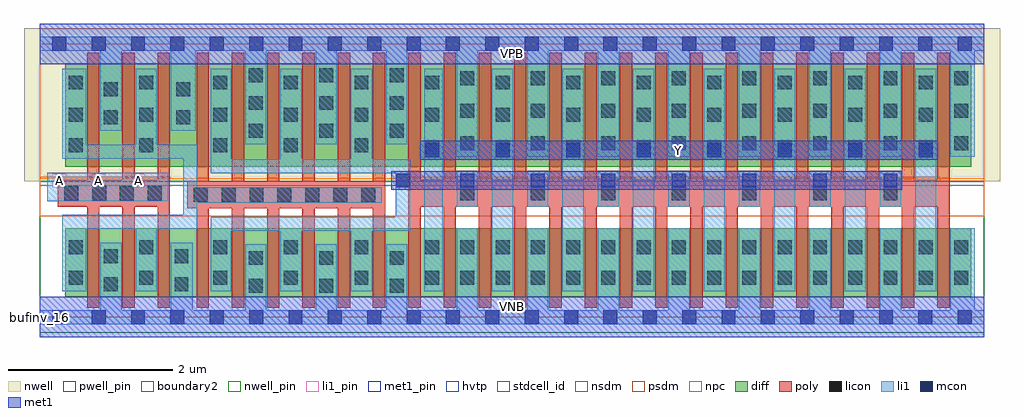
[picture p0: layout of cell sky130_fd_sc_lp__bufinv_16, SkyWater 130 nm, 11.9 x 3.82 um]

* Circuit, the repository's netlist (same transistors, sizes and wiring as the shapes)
* Copyright 2020 The SkyWater PDK Authors
*
* Licensed under the Apache License, Version 2.0 (the "License");
* you may not use this file except in compliance with the License.
* You may obtain a copy of the License at
*
*     https://www.apache.org/licenses/LICENSE-2.0
*
* Unless required by applicable law or agreed to in writing, software
* distributed under the License is distributed on an "AS IS" BASIS,
* WITHOUT WARRANTIES OR CONDITIONS OF ANY KIND, either express or implied.
* See the License for the specific language governing permissions and
* limitations under the License.
*
* SPDX-License-Identifier: Apache-2.0

.SUBCKT sky130_fd_sc_lp__bufinv_16 A VGND VNB VPB VPWR Y
*.PININFO A:I VGND:I VNB:I VPB:I VPWR:I Y:O
MMIN1 Ab A VGND VNB sky130_fd_pr__nfet_01v8 m=3 w=0.84U l=0.15U mult=1 sa=0.265
+ sb=0.265 sd=0.28 area=0.063 perim=1.14
MMIN2 Abb Ab VGND VNB sky130_fd_pr__nfet_01v8 m=6 w=0.84U l=0.15U mult=1 sa=0.265
+ sb=0.265 sd=0.28 area=0.063 perim=1.14
MMIN3 Y Abb VGND VNB sky130_fd_pr__nfet_01v8 m=16 w=0.84U l=0.15U mult=1 sa=0.265
+ sb=0.265 sd=0.28 area=0.063 perim=1.14
MMIP1 Ab A VPWR VPB sky130_fd_pr__pfet_01v8_hvt m=3 w=1.26U l=0.15U mult=1 sa=0.265
+ sb=0.265 sd=0.28 area=0.063 perim=1.14
MMIP2 Abb Ab VPWR VPB sky130_fd_pr__pfet_01v8_hvt m=6 w=1.26U l=0.15U mult=1 sa=0.265
+ sb=0.265 sd=0.28 area=0.063 perim=1.14
MMIP3 Y Abb VPWR VPB sky130_fd_pr__pfet_01v8_hvt m=16 w=1.26U l=0.15U mult=1 sa=0.265
+ sb=0.265 sd=0.28 area=0.063 perim=1.14
.ENDS sky130_fd_sc_lp__bufinv_16

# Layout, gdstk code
import gdstk
lib = gdstk.Library(unit=1e-6, precision=1e-09)
def R(c, l, rs):  # rectangles x0, y0, x1, y1
    for r in rs: c.add(gdstk.rectangle(r[:2], r[2:], *l))
def A(c, l, x, y, w, h, nx, ny, dx, dy):  # array of equal rectangles
    R(c, l, [(x+i*dx, y+j*dy, x+i*dx+w, y+j*dy+h) for i in range(nx) for j in range(ny)])
def P(c, l, *ps):  # polygons
    for p in ps: c.add(gdstk.Polygon(p, *l))
nwell_pin = (64, 16)
nwell = (64, 20)
diff = (65, 20)
poly = (66, 20)
licon = (66, 44)
li1_pin = (67, 16)
li1 = (67, 20)
mcon = (67, 44)
met1_pin = (68, 16)
met1 = (68, 20)
hvtp = (78, 44)
stdcell_id = (81, 4)
nsdm = (93, 44)
psdm = (94, 20)
npc = (95, 20)
pwell_pin = (122, 16)
boundary2 = (236, 0)

sky130_fd_sc_lp__bufinv_ = lib.new_cell('sky130_fd_sc_lp__bufinv_16')
R(sky130_fd_sc_lp__bufinv_, nwell_pin, [(0,3.085,11.52,3.33)])
R(sky130_fd_sc_lp__bufinv_, nwell, [(-0.19,1.655,11.71,3.52)])
R(sky130_fd_sc_lp__bufinv_, diff, [(0.315,0.245,11.36,1.085), (0.315,1.835,11.36,3.095)])
P(sky130_fd_sc_lp__bufinv_, poly, [(1.59,3.225),(1.44,3.225),(1.44,1.675),(1.16,1.675),(1.16,3.225),(1.01,3.225),(1.01,1.675),(0.73,1.675),(0.73,3.225),(0.58,3.225),(0.58,1.675),(0.22,1.675),(0.22,1.345),(0.58,1.345),(0.58,0.115),(0.73,0.115),(0.73,1.345),(1.01,1.345),(1.01,0.115),(1.16,0.115),(1.16,1.345),(1.44,1.345),(1.44,0.115),(1.59,0.115)],
  [(4.215,3.225),(4.065,3.225),(4.065,1.655),(3.785,1.655),(3.785,3.225),(3.635,3.225),(3.635,1.655),(3.355,1.655),(3.355,3.225),(3.205,3.225),(3.205,1.655),(2.925,1.655),(2.925,3.225),(2.775,3.225),(2.775,1.655),(2.495,1.655),(2.495,3.225),(2.345,3.225),(2.345,1.655),(2.065,1.655),(2.065,3.225),(1.915,3.225),(1.915,1.655),(1.8,1.655),(1.8,1.325),(1.915,1.325),(1.915,0.115),(2.065,0.115),(2.065,1.325),(2.345,1.325),(2.345,0.115),(2.495,0.115),(2.495,1.325),(2.775,1.325),(2.775,0.115),(2.925,0.115),(2.925,1.325),(3.205,1.325),(3.205,0.115),(3.355,0.115),(3.355,1.325),(3.635,1.325),(3.635,0.115),(3.785,0.115),(3.785,1.325),(4.065,1.325),(4.065,0.115),(4.215,0.115)],
  [(11.095,3.225),(10.945,3.225),(10.945,1.675),(10.665,1.675),(10.665,3.225),(10.515,3.225),(10.515,1.675),(10.235,1.675),(10.235,3.225),(10.085,3.225),(10.085,1.675),(9.805,1.675),(9.805,3.225),(9.655,3.225),(9.655,1.675),(9.375,1.675),(9.375,3.225),(9.225,3.225),(9.225,1.675),(8.945,1.675),(8.945,3.225),(8.795,3.225),(8.795,1.675),(8.515,1.675),(8.515,3.225),(8.365,3.225),(8.365,1.675),(8.085,1.675),(8.085,3.225),(7.935,3.225),(7.935,1.675),(7.655,1.675),(7.655,3.225),(7.505,3.225),(7.505,1.675),(7.225,1.675),(7.225,3.225),(7.075,3.225),(7.075,1.675),(6.795,1.675),(6.795,3.225),(6.645,3.225),(6.645,1.675),(6.365,1.675),(6.365,3.225),(6.215,3.225),(6.215,1.675),(5.935,1.675),(5.935,3.225),(5.785,3.225),(5.785,1.675),(5.505,1.675),(5.505,3.225),(5.355,3.225),(5.355,1.675),(5.075,1.675),(5.075,3.225),(4.925,3.225),(4.925,1.675),(4.645,1.675),(4.645,3.225),(4.495,3.225),(4.495,0.115),(4.645,0.115),(4.645,1.345),(4.925,1.345),(4.925,0.115),(5.075,0.115),(5.075,1.345),(5.355,1.345),(5.355,0.115),(5.505,0.115),(5.505,1.345),(5.785,1.345),(5.785,0.115),(5.935,0.115),(5.935,1.345),(6.215,1.345),(6.215,0.115),(6.365,0.115),(6.365,1.345),(6.645,1.345),(6.645,0.115),(6.795,0.115),(6.795,1.345),(7.075,1.345),(7.075,0.115),(7.225,0.115),(7.225,1.345),(7.505,1.345),(7.505,0.115),(7.655,0.115),(7.655,1.345),(7.935,1.345),(7.935,0.115),(8.085,0.115),(8.085,1.345),(8.365,1.345),(8.365,0.115),(8.515,0.115),(8.515,1.345),(8.795,1.345),(8.795,0.115),(8.945,0.115),(8.945,1.345),(9.225,1.345),(9.225,0.115),(9.375,0.115),(9.375,1.345),(9.655,1.345),(9.655,0.115),(9.805,0.115),(9.805,1.345),(10.085,1.345),(10.085,0.115),(10.235,0.115),(10.235,1.345),(10.515,1.345),(10.515,0.115),(10.665,0.115),(10.665,1.345),(10.945,1.345),(10.945,0.115),(11.095,0.115)])
A(sky130_fd_sc_lp__bufinv_, licon, 2.55, 0.295, 0.17, 0.17, 3, 2, 0.86, 0.34)
A(sky130_fd_sc_lp__bufinv_, licon, 2.12, 0.395, 0.17, 0.17, 4, 2, 0.86, 0.37)
A(sky130_fd_sc_lp__bufinv_, licon, 5.13, 0.395, 0.17, 0.17, 15, 2, 0.43, 0.37)
A(sky130_fd_sc_lp__bufinv_, licon, 1.88, 1.405, 0.17, 0.17, 7, 1, 0.34, 0)
A(sky130_fd_sc_lp__bufinv_, licon, 0.3, 1.425, 0.17, 0.17, 4, 1, 0.34, 0)
A(sky130_fd_sc_lp__bufinv_, licon, 5.13, 1.425, 0.17, 0.17, 7, 1, 0.86, 0)
A(sky130_fd_sc_lp__bufinv_, licon, 4.7, 1.985, 0.17, 0.17, 8, 1, 0.86, 0)
A(sky130_fd_sc_lp__bufinv_, licon, 2.12, 2.01, 0.17, 0.17, 3, 1, 0.86, 0)
A(sky130_fd_sc_lp__bufinv_, licon, 5.13, 2.035, 0.17, 0.17, 8, 3, 0.86, 0.395)
A(sky130_fd_sc_lp__bufinv_, licon, 2.55, 2.185, 0.17, 0.17, 3, 3, 0.86, 0.34)
A(sky130_fd_sc_lp__bufinv_, licon, 2.12, 2.38, 0.17, 0.17, 11, 2, 0.86, 0.395)
R(sky130_fd_sc_lp__bufinv_, licon, [(0.785,0.315,0.955,0.485), (1.645,0.315,1.815,0.485), (0.355,0.395,0.525,0.565), (1.215,0.395,1.385,0.565), (0.785,0.655,0.955,0.825), (1.645,0.655,1.815,0.825), (0.355,0.765,0.525,0.935), (1.215,0.765,1.385,0.935), (0.355,2.01,0.525,2.18), (1.215,2.01,1.385,2.18), (0.785,2.35,0.955,2.52), (1.665,2.35,1.835,2.52), (0.355,2.38,0.525,2.55), (1.215,2.38,1.385,2.55), (0.785,2.69,0.955,2.86), (1.665,2.69,1.835,2.86), (0.355,2.775,0.525,2.945), (1.215,2.775,1.385,2.945)])
A(sky130_fd_sc_lp__bufinv_, li1_pin, 0.155, 1.58, 0.17, 0.17, 3, 1, 0.48, 0)
A(sky130_fd_sc_lp__bufinv_, li1, 5.515, 0.315, 0.26, 2.71, 7, 1, 0.86, 0)
A(sky130_fd_sc_lp__bufinv_, li1, 5.085, 1.345, 0.26, 0.44, 7, 1, 0.86, 0)
R(sky130_fd_sc_lp__bufinv_, li1, [(4.69,0.315,4.915,3.025), (0.095,1.415,1.57,1.76)])
P(sky130_fd_sc_lp__bufinv_, li1, [(4.17,1.585),(1.92,1.585),(1.92,2.1),(1.43,2.1),(1.43,3.025),(1.17,3.025),(1.17,2.1),(0.57,2.1),(0.57,3.025),(0.275,3.025),(0.275,1.93),(1.75,1.93),(1.75,1.245),(0.275,1.245),(0.275,0.315),(0.57,0.315),(0.57,1.075),(1.17,1.075),(1.17,0.315),(1.43,0.315),(1.43,1.075),(1.92,1.075),(1.92,1.395),(4.17,1.395)],
  [(4.52,1.925),(4.055,1.925),(4.055,3.025),(3.795,3.025),(3.795,1.925),(3.195,1.925),(3.195,3.025),(2.935,3.025),(2.935,1.925),(2.335,1.925),(2.335,3.025),(2.09,3.025),(2.09,1.755),(4.34,1.755),(4.34,1.225),(2.09,1.225),(2.09,0.315),(2.335,0.315),(2.335,1.055),(2.935,1.055),(2.935,0.315),(3.195,0.315),(3.195,1.055),(3.795,1.055),(3.795,0.315),(4.055,0.315),(4.055,1.055),(4.52,1.055)],
  [(11.52,0.085),(11.4,0.085),(11.4,1.08),(11.105,1.08),(11.105,0.085),(10.505,0.085),(10.505,1.08),(10.245,1.08),(10.245,0.085),(9.645,0.085),(9.645,1.08),(9.385,1.08),(9.385,0.085),(8.785,0.085),(8.785,1.08),(8.525,1.08),(8.525,0.085),(7.925,0.085),(7.925,1.08),(7.665,1.08),(7.665,0.085),(7.065,0.085),(7.065,1.08),(6.805,1.08),(6.805,0.085),(6.205,0.085),(6.205,1.08),(5.945,1.08),(5.945,0.085),(5.345,0.085),(5.345,1.08),(5.085,1.08),(5.085,0.085),(4.485,0.085),(4.485,0.885),(4.225,0.885),(4.225,0.085),(3.625,0.085),(3.625,0.885),(3.365,0.885),(3.365,0.085),(2.765,0.085),(2.765,0.885),(2.505,0.885),(2.505,0.085),(1.87,0.085),(1.87,0.905),(1.6,0.905),(1.6,0.085),(1,0.085),(1,0.905),(0.74,0.905),(0.74,0.085),(0,0.085),(0,-0.085),(11.52,-0.085)],
  [(11.52,3.415),(0,3.415),(0,3.245),(0.74,3.245),(0.74,2.27),(1,2.27),(1,3.245),(1.6,3.245),(1.6,2.27),(1.905,2.27),(1.905,3.245),(2.505,3.245),(2.505,2.105),(2.765,2.105),(2.765,3.245),(3.365,3.245),(3.365,2.105),(3.625,2.105),(3.625,3.245),(4.225,3.245),(4.225,2.105),(4.485,2.105),(4.485,3.245),(5.085,3.245),(5.085,1.955),(5.345,1.955),(5.345,3.245),(5.945,3.245),(5.945,1.955),(6.205,1.955),(6.205,3.245),(6.805,3.245),(6.805,1.955),(7.065,1.955),(7.065,3.245),(7.665,3.245),(7.665,1.955),(7.925,1.955),(7.925,3.245),(8.525,3.245),(8.525,1.955),(8.785,1.955),(8.785,3.245),(9.385,3.245),(9.385,1.955),(9.645,1.955),(9.645,3.245),(10.245,3.245),(10.245,1.955),(10.505,1.955),(10.505,3.245),(11.105,3.245),(11.105,1.955),(11.4,1.955),(11.4,3.245),(11.52,3.245)])
A(sky130_fd_sc_lp__bufinv_, mcon, 0.155, -0.085, 0.17, 0.17, 24, 2, 0.48, 3.33)
A(sky130_fd_sc_lp__bufinv_, mcon, 5.13, 1.58, 0.17, 0.17, 7, 1, 0.86, 0)
A(sky130_fd_sc_lp__bufinv_, mcon, 4.7, 1.95, 0.17, 0.17, 8, 1, 0.86, 0)
R(sky130_fd_sc_lp__bufinv_, mcon, [(4.35,1.58,4.52,1.75)])
R(sky130_fd_sc_lp__bufinv_, met1_pin, [(0,0,11.52,0.245), (4.64,1.92,10.95,2.15), (0,3.085,11.52,3.33)])
R(sky130_fd_sc_lp__bufinv_, met1, [(0,-0.245,11.52,0.245), (4.29,1.55,10.52,1.78), (4.64,1.92,10.95,2.15), (0,3.085,11.52,3.575)])
R(sky130_fd_sc_lp__bufinv_, hvtp, [(0,1.6,11.52,3.33)])
R(sky130_fd_sc_lp__bufinv_, stdcell_id, [(0,0,11.52,3.33)])
R(sky130_fd_sc_lp__bufinv_, nsdm, [(0,-0.19,11.52,1.655)])
P(sky130_fd_sc_lp__bufinv_, psdm, [(11.52,3.52),(0,3.52),(0,1.705),(1.6,1.705),(1.6,1.685),(4.465,1.685),(4.465,1.705),(10.975,1.705),(10.975,1.655),(11.52,1.655)])
R(sky130_fd_sc_lp__bufinv_, npc, [(0,1.23,11.52,1.695)])
R(sky130_fd_sc_lp__bufinv_, pwell_pin, [(0,0,11.52,0.245)])
R(sky130_fd_sc_lp__bufinv_, boundary2, [(0,0,11.52,3.33)])
sky130_fd_sc_lp__bufinv_.add(gdstk.Label('VNB', (5.76,0.123), layer=64, texttype=59))
sky130_fd_sc_lp__bufinv_.add(gdstk.Label('VPB', (5.76,3.208), layer=64, texttype=5))
sky130_fd_sc_lp__bufinv_.add(gdstk.Label('bufinv_16', (0,0), layer=83, texttype=44))
sky130_fd_sc_lp__bufinv_.add(gdstk.Label('Y', (7.795,2.035), layer=68, texttype=5))
sky130_fd_sc_lp__bufinv_.add(gdstk.Label('VPWR', (5.76,3.208), layer=68, texttype=5))
sky130_fd_sc_lp__bufinv_.add(gdstk.Label('VGND', (5.76,0.123), layer=68, texttype=5))
sky130_fd_sc_lp__bufinv_.add(gdstk.Label('A', (0.24,1.665), layer=67, texttype=5))
sky130_fd_sc_lp__bufinv_.add(gdstk.Label('A', (0.72,1.665), layer=67, texttype=5))
sky130_fd_sc_lp__bufinv_.add(gdstk.Label('A', (1.2,1.665), layer=67, texttype=5))

lib.write_gds('sky130_fd_sc_lp__bufinv_16.gds')
